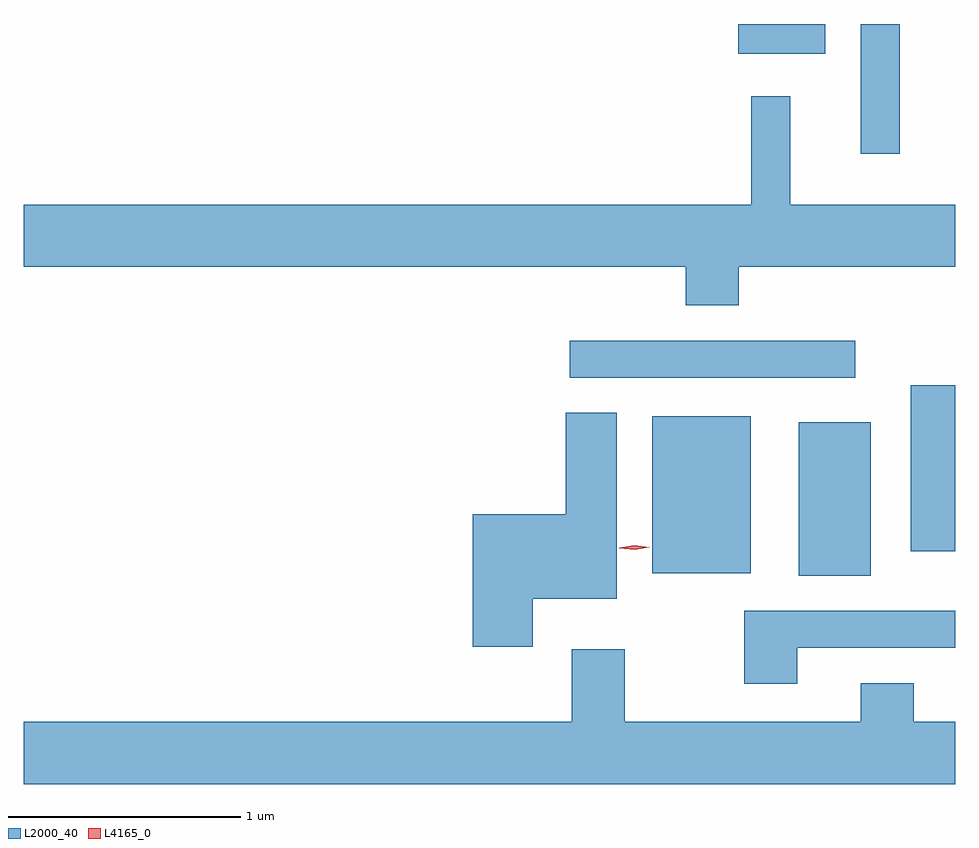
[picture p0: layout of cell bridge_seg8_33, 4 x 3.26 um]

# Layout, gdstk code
import gdstk
lib = gdstk.Library(unit=1e-6, precision=1e-09)
def R(c, l, rs):  # rectangles x0, y0, x1, y1
    for r in rs: c.add(gdstk.rectangle(r[:2], r[2:], *l))
def P(c, l, *ps):  # polygons
    for p in ps: c.add(gdstk.Polygon(p, *l))
L2000_40 = (2000, 40)
L4165_0 = (4165, 0)

bridge_seg8_33 = lib.new_cell('bridge_seg8_33')
R(bridge_seg8_33, L2000_40, [(1504.636,1883.931,1504.944,1884.589), (1504.006,1883.941,1504.429,1884.614), (1505.116,1884.036,1505.308,1884.749), (1503.653,1884.781,1504.878,1884.939), (1504.901,1885.743,1505.069,1886.299), (1504.376,1886.171,1504.749,1886.299)])
P(bridge_seg8_33, L2000_40, [(1504.379,1885.256),(1505.308,1885.256),(1505.308,1885.524),(1504.599,1885.524),(1504.599,1885.988),(1504.431,1885.988),(1504.431,1885.524),(1501.308,1885.524),(1501.308,1885.256),(1504.151,1885.256),(1504.151,1885.091),(1504.379,1885.091)],
  [(1503.494,1883.831),(1503.854,1883.831),(1503.854,1884.629),(1503.636,1884.629),(1503.636,1884.194),(1503.236,1884.194),(1503.236,1883.626),(1503.494,1883.626)],
  [(1504.629,1883.621),(1505.308,1883.621),(1505.308,1883.779),(1504.401,1883.779),(1504.401,1883.466),(1504.629,1883.466)],
  [(1505.308,1883.304),(1505.129,1883.304),(1505.129,1883.469),(1504.901,1883.469),(1504.901,1883.304),(1503.889,1883.304),(1503.889,1883.614),(1503.661,1883.614),(1503.661,1883.304),(1501.308,1883.304),(1501.308,1883.036),(1505.308,1883.036)])
P(bridge_seg8_33, L4165_0, [(1503.931,1884.041),(1503.864,1884.049),(1503.864,1884.05),(1503.864,1884.05),(1503.93,1884.061),(1503.997,1884.053),(1503.997,1884.053),(1503.997,1884.052)])

lib.write_gds('bridge_seg8_33.gds')
